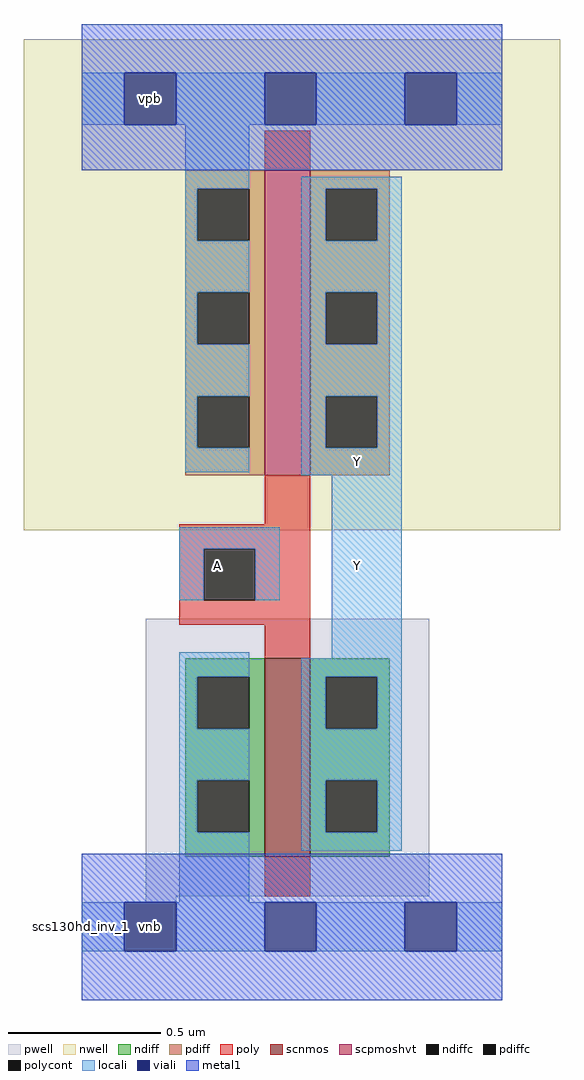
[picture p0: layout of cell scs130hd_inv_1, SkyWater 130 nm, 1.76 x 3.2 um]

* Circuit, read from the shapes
.subckt scs130hd_inv_1 vpb vnb vpwr vgnd Y A
XM1 Y A vgnd vnb sky130_fd_pr__nfet_01v8 w=0.65 l=0.15
XM2 Y A vpwr vpb sky130_fd_pr__pfet_01v8_hvt w=1 l=0.15
.ends

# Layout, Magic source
magic
tech sky130B
<< nwell >>
rect -19 130 157 291
<< pwell >>
rect 21 10 114 101
rect 21 8 31 10
rect 14 -8 31 8
<< scnmos >>
rect 60 23 75 88
<< scpmoshvt >>
rect 60 148 75 248
<< ndiff >>
rect 34 82 60 88
rect 34 65 38 82
rect 55 65 60 82
rect 34 48 60 65
rect 34 31 38 48
rect 55 31 60 48
rect 34 23 60 31
rect 75 82 101 88
rect 75 65 80 82
rect 97 65 101 82
rect 75 48 101 65
rect 75 31 80 48
rect 97 31 101 48
rect 75 23 101 31
<< pdiff >>
rect 34 242 60 248
rect 34 225 38 242
rect 55 225 60 242
rect 34 208 60 225
rect 34 191 38 208
rect 55 191 60 208
rect 34 174 60 191
rect 34 157 38 174
rect 55 157 60 174
rect 34 148 60 157
rect 75 242 101 248
rect 75 225 80 242
rect 97 225 101 242
rect 75 208 101 225
rect 75 191 80 208
rect 97 191 101 208
rect 75 174 101 191
rect 75 157 80 174
rect 97 157 101 174
rect 75 148 101 157
<< ndiffc >>
rect 38 65 55 82
rect 38 31 55 48
rect 80 65 97 82
rect 80 31 97 48
<< pdiffc >>
rect 38 225 55 242
rect 38 191 55 208
rect 38 157 55 174
rect 80 225 97 242
rect 80 191 97 208
rect 80 157 97 174
<< poly >>
rect 60 248 75 261
rect 60 132 75 148
rect 32 124 75 132
rect 32 107 40 124
rect 57 107 75 124
rect 32 99 75 107
rect 60 88 75 99
rect 60 10 75 23
<< polycont >>
rect 40 107 57 124
<< locali >>
rect 0 263 14 280
rect 31 263 60 280
rect 77 263 106 280
rect 123 263 138 280
rect 34 242 55 263
rect 34 225 38 242
rect 34 208 55 225
rect 34 191 38 208
rect 34 174 55 191
rect 34 157 38 174
rect 34 149 55 157
rect 72 242 105 246
rect 72 225 80 242
rect 97 225 105 242
rect 72 208 105 225
rect 72 191 80 208
rect 97 191 105 208
rect 72 174 105 191
rect 72 157 80 174
rect 97 157 105 174
rect 72 148 105 157
rect 32 124 65 131
rect 32 107 40 124
rect 57 107 65 124
rect 32 82 55 90
rect 82 88 105 148
rect 32 65 38 82
rect 32 48 55 65
rect 32 31 38 48
rect 32 8 55 31
rect 72 82 105 88
rect 72 65 80 82
rect 97 65 105 82
rect 72 48 105 65
rect 72 31 80 48
rect 97 31 105 48
rect 72 25 105 31
rect 0 -8 14 8
rect 31 -8 60 8
rect 77 -8 106 8
rect 123 -8 138 8
<< viali >>
rect 14 263 31 280
rect 60 263 77 280
rect 106 263 123 280
rect 14 -8 31 8
rect 60 -8 77 8
rect 106 -8 123 8
<< metal1 >>
rect 0 280 138 296
rect 0 263 14 280
rect 31 263 60 280
rect 77 263 106 280
rect 123 263 138 280
rect 0 248 138 263
rect 0 8 138 24
rect 0 -8 14 8
rect 31 -8 60 8
rect 77 -8 106 8
rect 123 -8 138 8
rect 0 -24 138 -8
<< labels >>
flabel locali s 36 110 53 127 0 FreeSans 170 0 0 0 A
port 7 nsew
flabel locali s 82 110 99 127 0 FreeSans 170 0 0 0 Y
port 6 nsew
flabel locali s 82 144 99 161 0 FreeSans 170 0 0 0 Y
port 6 nsew
flabel nwell s 14 263 31 280 0 FreeSans 100 0 0 0 vpb
port 2 nsew
flabel pwell s 14 -8 31 8 0 FreeSans 100 0 0 0 vnb
port 3 nsew
flabel metal1 s 14 263 31 280 0 FreeSans 100 0 0 0 vpwr
port 4 nsew
flabel metal1 s 14 -8 31 8 0 FreeSans 100 0 0 0 vgnd
port 5 nsew
rlabel comment s 0 0 0 0 4 scs130hd_inv_1
<< properties >>
string FIXED_BBOX 0 0 138 272
<< end >>
